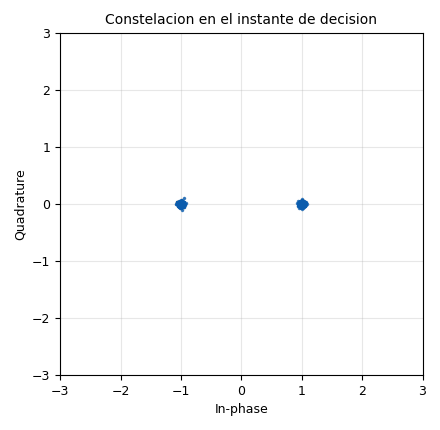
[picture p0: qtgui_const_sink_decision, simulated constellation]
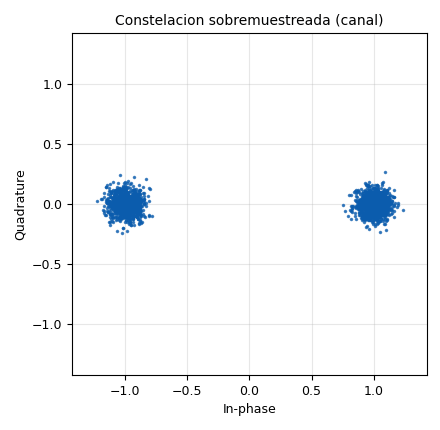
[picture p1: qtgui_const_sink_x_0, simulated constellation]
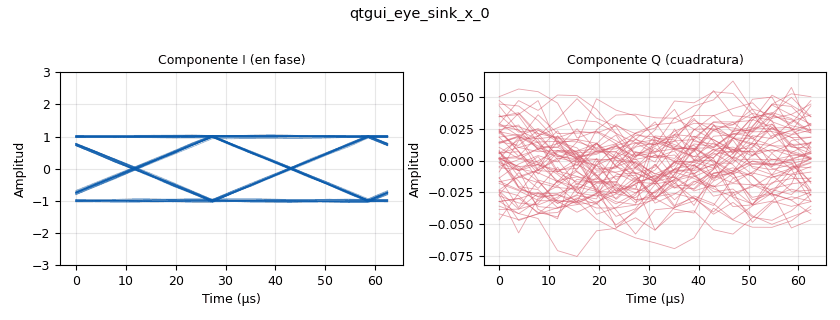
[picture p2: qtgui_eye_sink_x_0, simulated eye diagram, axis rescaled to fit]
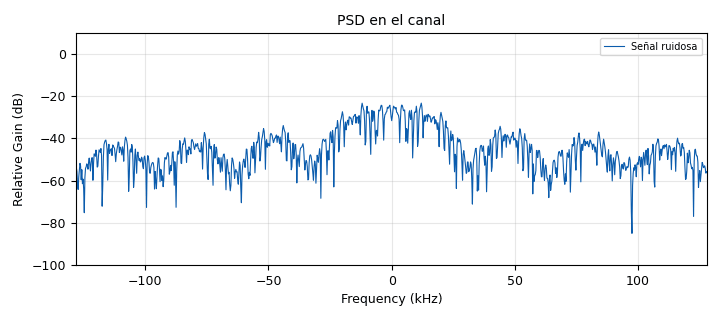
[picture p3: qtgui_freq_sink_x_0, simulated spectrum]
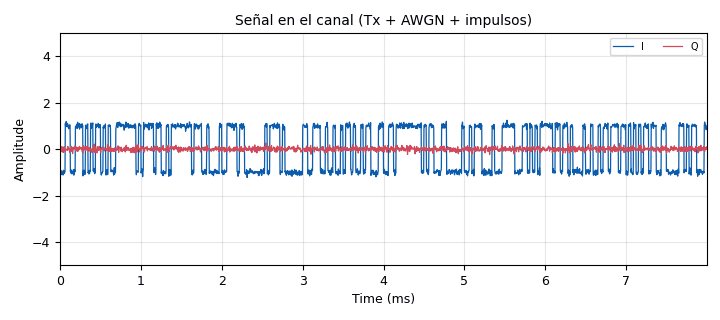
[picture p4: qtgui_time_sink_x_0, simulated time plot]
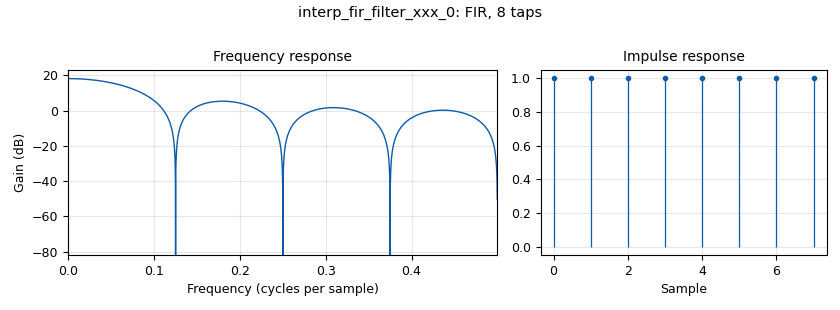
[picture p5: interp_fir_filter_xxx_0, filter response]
options:
  parameters:
    comment: Copia de Modulaciones_basadas_en_constelaciones_AWGN.grc con generador de impulsos y receptor BPSK
    description: Copia de Modulaciones_basadas_en_constelaciones_AWGN.grc con generador de impulsos y receptor BPSK
    generate_options: qt_gui
    id: S1_BPSK_Ruido_Impulsivo_Grupo3
    output_language: python
    title: 'S1 - Telemetria industrial: BPSK con ruido impulsivo periodico (Grupo 3)'
  states: {}

blocks:
- name: A_imp
  id: variable_qtgui_range
  parameters:
    comment: 'Variable experimental: A=0, B=1.0, C=2.0, D=4.0'
    label: Amplitud del impulso A_imp
    start: '0'
    step: '0.1'
    stop: '5'
    value: '0'
  states: {}
- name: M
  id: variable
  parameters:
    value: len(tabla_de_verdad_constelacion)
  states: {}
- name: N_T
  id: variable
  parameters:
    comment: Periodo del impulso [muestras] = 1.953 ms
    value: '500'
  states: {}
- name: N_ber
  id: variable
  parameters:
    comment: Ventana de promedio de la BER [bits]
    value: '100000'
  states: {}
- name: Rb
  id: variable
  parameters:
    value: Rs*bps
  states: {}
- name: Rs
  id: variable
  parameters:
    value: '32000'
  states: {}
- name: Sps
  id: variable
  parameters:
    value: '8'
  states: {}
- name: W_imp
  id: variable
  parameters:
    comment: Ancho del impulso [muestras] = 15.6 us
    value: '4'
  states: {}
- name: bps
  id: variable
  parameters:
    value: int(math.log(M,2))
  states: {}
- name: h
  id: variable
  parameters:
    value: '[1]*Sps'
  states: {}
- name: noise_amp
  id: variable_qtgui_range
  parameters:
    label: Amplitud AWGN de fondo (fija)
    start: '0'
    step: '0.01'
    stop: '0.5'
    value: '0.10'
  states: {}
- name: retardo_bits
  id: variable
  parameters:
    comment: Ajuste de alineacion Tx-Rx (debe ser 0)
    value: '0'
  states: {}
- name: samp_rate
  id: variable
  parameters:
    value: Rs*Sps
  states: {}
- name: tabla_de_verdad_constelacion
  id: variable
  parameters:
    comment: BPSK (escenario S1)
    value: (-1+0j, 1+0j)
  states: {}
- name: analog_noise_source_x_0
  id: analog_noise_source_x
  parameters:
    amp: noise_amp
    noise_type: analog.GR_GAUSSIAN
    seed: '0'
    type: complex
  states: {}
- name: analog_random_source_x_0
  id: analog_random_source_x
  parameters:
    max: '2'
    min: '0'
    num_samps: '1000'
    repeat: 'True'
    type: byte
  states: {}
- name: blocks_add_xx_0
  id: blocks_add_xx
  parameters:
    num_inputs: '3'
    type: complex
  states: {}
- name: blocks_pack_k_bits_bb_0
  id: blocks_pack_k_bits_bb
  parameters:
    k: '8'
  states: {}
- name: blocks_packed_to_unpacked_xx_0
  id: blocks_packed_to_unpacked_xx
  parameters:
    bits_per_chunk: bps
    endianness: gr.GR_MSB_FIRST
    type: byte
  states: {}
- name: char_to_float_errores
  id: blocks_char_to_float
  parameters:
    scale: '1'
  states: {}
- name: complex_to_real_rx
  id: blocks_complex_to_real
  parameters: {}
  states: {}
- name: decisor_binary_slicer
  id: digital_binary_slicer_fb
  parameters: {}
  states: {}
- name: digital_chunks_to_symbols_xx_0
  id: digital_chunks_to_symbols_xx
  parameters:
    dimension: '1'
    in_type: byte
    out_type: complex
    symbol_table: tabla_de_verdad_constelacion
  states: {}
- name: filtro_acoplado
  id: blocks_moving_average_xx
  parameters:
    length: Sps
    max_iter: '4000'
    scale: 1.0/Sps
    type: complex
  states: {}
- name: import_0
  id: import
  parameters:
    imports: import math
  states: {}
- name: interp_fir_filter_xxx_0
  id: interp_fir_filter_xxx
  parameters:
    interp: Sps
    taps: h
    type: ccf
  states: {}
- name: muestreo_keep_one_in_n
  id: blocks_keep_one_in_n
  parameters:
    n: Sps
    type: complex
  states: {}
- name: multiply_const_A_imp
  id: blocks_multiply_const_vxx
  parameters:
    const: A_imp
    type: complex
  states: {}
- name: promedio_ber
  id: blocks_moving_average_xx
  parameters:
    length: N_ber
    max_iter: '4000'
    scale: 1.0/N_ber
    type: float
  states: {}
- name: qtgui_const_sink_decision
  id: qtgui_const_sink_x
  parameters:
    grid: 'True'
    label1: '"Rx"'
    legend: 'False'
    name: '"Constelacion en el instante de decision"'
    size: '1024'
    type: complex
    xmax: '3'
    xmin: '-3'
    ymax: '3'
    ymin: '-3'
  states: {}
- name: qtgui_const_sink_x_0
  id: qtgui_const_sink_x
  parameters:
    autoscale: 'True'
    grid: 'True'
    label1: '"Señal ruidosa"'
    legend: 'False'
    name: '"Constelacion sobremuestreada (canal)"'
    size: '2048'
    type: complex
  states: {}
- name: qtgui_eye_sink_x_0
  id: qtgui_eye_sink_x
  parameters:
    label1: '"Componente I (en fase)"'
    label2: Componente Q (cuadratura)
    marker1: '3'
    samp_per_symbol: Sps
    size: '1024'
    srate: samp_rate
    type: complex
    ylabel: '"Amplitud"'
    ymax: '3'
    ymin: '-3'
    yunit: '"Amplitud"'
  states: {}
- name: qtgui_freq_sink_x_0
  id: qtgui_freq_sink_x
  parameters:
    bw: samp_rate
    fc: '0'
    fftsize: '1024'
    grid: 'True'
    label1: Señal ruidosa
    name: '"PSD en el canal"'
    type: complex
    ymin: '-100'
  states: {}
- name: qtgui_number_sink_ber
  id: qtgui_number_sink
  parameters:
    graph_type: qtgui.NUM_GRAPH_NONE
    label1: BER
    max: '0.05'
    min: '0'
    name: '"BER"'
    type: float
    update_time: '0.20'
  states: {}
- name: qtgui_time_sink_x_0
  id: qtgui_time_sink_x
  parameters:
    grid: 'True'
    label1: I
    label2: Q
    name: '"Señal en el canal (Tx + AWGN + impulsos)"'
    size: '2048'
    srate: samp_rate
    type: complex
    ymax: '5'
    ymin: '-5'
  states: {}
- name: retardo_bits_tx
  id: blocks_delay
  parameters:
    delay: retardo_bits
    type: byte
  states: {}
- name: throttle_0
  id: blocks_throttle2
  parameters:
    samples_per_second: samp_rate
    type: complex
  states: {}
- name: vector_source_impulsos
  id: blocks_vector_source_x
  parameters:
    repeat: 'True'
    type: complex
    vector: '[1+0j]*W_imp + [0j]*(N_T-W_imp)'
  states: {}
- name: virtual_sink_0
  id: virtual_sink
  parameters:
    stream_id: s1
  states: {}
- name: virtual_sink_0_0
  id: virtual_sink
  parameters:
    stream_id: s2
  states: {}
- name: virtual_source_0
  id: virtual_source
  parameters:
    stream_id: s2
  states: {}
- name: virtual_source_0_0
  id: virtual_source
  parameters:
    stream_id: s1
  states: {}
- name: xor_errores
  id: blocks_xor_xx
  parameters:
    type: byte
  states: {}

connections:
- [analog_noise_source_x_0, '0', blocks_add_xx_0, '1']
- [analog_random_source_x_0, '0', blocks_pack_k_bits_bb_0, '0']
- [blocks_add_xx_0, '0', filtro_acoplado, '0']
- [blocks_add_xx_0, '0', qtgui_const_sink_x_0, '0']
- [blocks_add_xx_0, '0', qtgui_freq_sink_x_0, '0']
- [blocks_add_xx_0, '0', qtgui_time_sink_x_0, '0']
- [blocks_pack_k_bits_bb_0, '0', blocks_packed_to_unpacked_xx_0, '0']
- [blocks_packed_to_unpacked_xx_0, '0', digital_chunks_to_symbols_xx_0, '0']
- [blocks_packed_to_unpacked_xx_0, '0', retardo_bits_tx, '0']
- [char_to_float_errores, '0', promedio_ber, '0']
- [complex_to_real_rx, '0', decisor_binary_slicer, '0']
- [decisor_binary_slicer, '0', virtual_sink_0_0, '0']
- [digital_chunks_to_symbols_xx_0, '0', interp_fir_filter_xxx_0, '0']
- [filtro_acoplado, '0', muestreo_keep_one_in_n, '0']
- [filtro_acoplado, '0', qtgui_eye_sink_x_0, '0']
- [interp_fir_filter_xxx_0, '0', throttle_0, '0']
- [muestreo_keep_one_in_n, '0', complex_to_real_rx, '0']
- [muestreo_keep_one_in_n, '0', qtgui_const_sink_decision, '0']
- [multiply_const_A_imp, '0', blocks_add_xx_0, '2']
- [promedio_ber, '0', qtgui_number_sink_ber, '0']
- [retardo_bits_tx, '0', virtual_sink_0, '0']
- [throttle_0, '0', blocks_add_xx_0, '0']
- [vector_source_impulsos, '0', multiply_const_A_imp, '0']
- [virtual_source_0, '0', xor_errores, '1']
- [virtual_source_0_0, '0', xor_errores, '0']
- [xor_errores, '0', char_to_float_errores, '0']

metadata:
  file_format: 1
  grc_version: 3.10.12.0
